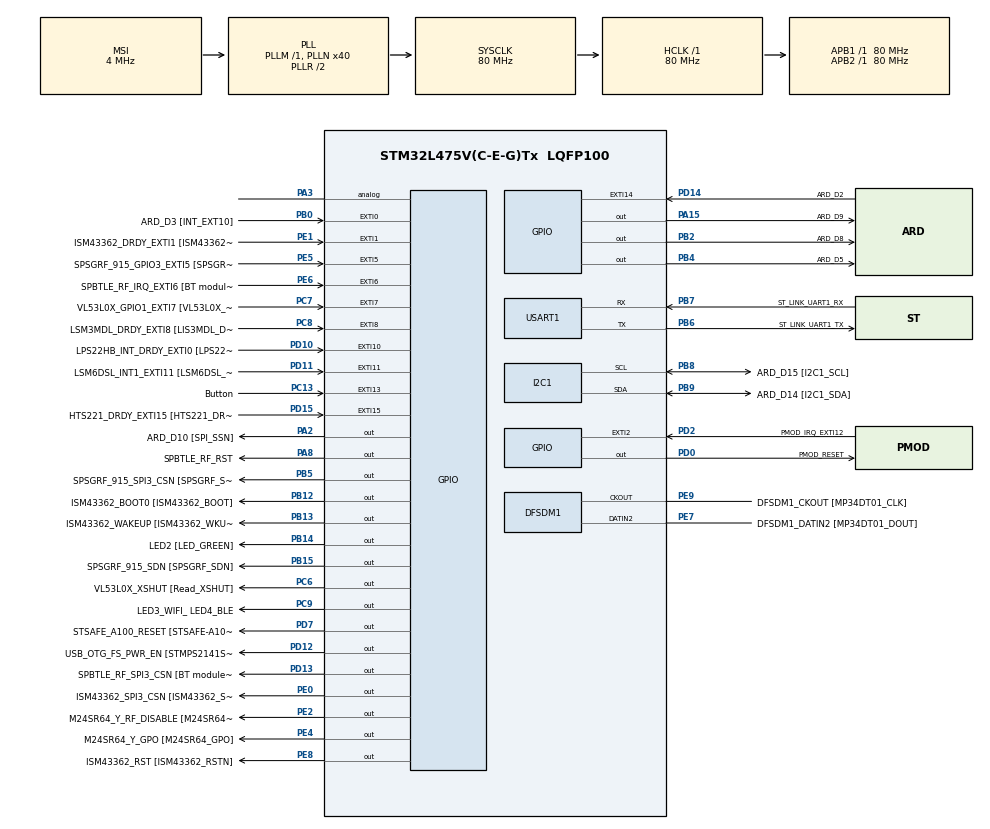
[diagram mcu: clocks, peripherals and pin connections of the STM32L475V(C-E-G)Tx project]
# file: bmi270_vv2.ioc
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I2C1.Timing=0x10909CEC
Mcu.Family=STM32L4
Mcu.Name=STM32L475V(C-E-G)Tx
Mcu.Package=LQFP100
NVIC.EXTI15_10_IRQn=true\:0\:0\:false\:false\:true\:true\:true
NVIC.EXTI9_5_IRQn=true\:0\:0\:false\:false\:true\:true\:true
NVIC.PriorityGroup=NVIC_PRIORITYGROUP_4
PA0.GPIO_Label=ARD_D1 [UART4_TX]
PA0.Signal=UART4_TX
PA1.GPIO_Label=ARD_D0 [UART4_RX]
PA1.Signal=UART4_RX
PA10.GPIO_Label=USB_OTG_FS_ID
PA10.Signal=USB_OTG_FS_ID
PA11.GPIO_Label=USB_OTG_FS_DM
PA11.Signal=USB_OTG_FS_DM
PA12.GPIO_Label=USB_OTG_FS_DP
PA12.Signal=USB_OTG_FS_DP
PA13\ (JTMS-SWDIO).GPIO_Label=SYS_JTMS_SWDIO
PA13\ (JTMS-SWDIO).Mode=Serial_Wire
PA13\ (JTMS-SWDIO).Signal=SYS_JTMS-SWDIO
PA14\ (JTCK-SWCLK).GPIO_Label=SYS_JTCK_SWCLK
PA14\ (JTCK-SWCLK).Mode=Serial_Wire
PA14\ (JTCK-SWCLK).Signal=SYS_JTCK-SWCLK
PA15\ (JTDI).GPIO_Label=ARD_D9
PA15\ (JTDI).Signal=GPIO_Output
PA2.GPIO_Label=ARD_D10 [SPI_SSN]
PA2.Signal=GPIO_Output
PA3.Signal=GPIO_Analog
PA4.GPIO_Label=ARD_D7
PA4.Signal=ADCx_IN9
PA5.GPIO_Label=ARD_D13 [SPI1_SCK]
PA5.Signal=SPI1_SCK
PA6.GPIO_Label=ARD_D12 [SPI1_MISO]
PA6.Signal=SPI1_MISO
PA7.GPIO_Label=ARD_D11 [SPI1_MOSI]
PA7.Signal=SPI1_MOSI
PA8.GPIO_Label=SPBTLE_RF_RST
PA8.Signal=GPIO_Output
PA9.GPIO_Label=USB_OTG_FS_VBUS [STMPS2141STR_OUT]
PA9.Signal=USB_OTG_FS_VBUS
PB0.GPIO_Label=ARD_D3 [INT_EXT10]
PB0.Signal=GPXTI0
PB1.GPIO_Label=ARD_D6 [ADC1_IN6]
PB1.Signal=ADCx_IN16
PB10.GPIO_Label=INTERNAL_I2C2_SCL [VL53L0X_SCL]
PB10.GPIO_Pu=GPIO_PULLUP
PB10.Signal=I2C2_SCL
PB11.GPIO_Label=INTERNAL_I2C2_SDA [VL53L0X_SDA]
PB11.GPIO_Pu=GPIO_PULLUP
PB11.Signal=I2C2_SDA
PB12.GPIO_Label=ISM43362_BOOT0 [ISM43362_BOOT]
PB12.Signal=GPIO_Output
PB13.GPIO_Label=ISM43362_WAKEUP [ISM43362_WKUP]
PB13.Signal=GPIO_Output
PB14.GPIO_Label=LED2 [LED_GREEN]
PB14.Signal=GPIO_Output
PB15.GPIO_Label=SPSGRF_915_SDN [SPSGRF_SDN]
PB15.Signal=GPIO_Output
PB2.GPIO_Label=ARD_D8
PB2.Signal=GPIO_Output
PB3\ (JTDO-TRACESWO).GPIO_Label=SYS_JTD0_SWO
PB3\ (JTDO-TRACESWO).Signal=SYS_JTDO-SWO
PB4\ (NJTRST).GPIO_Label=ARD_D5
PB4\ (NJTRST).Signal=GPIO_Output
PB5.GPIO_Label=SPSGRF_915_SPI3_CSN [SPSGRF_SPI_CS]
PB5.PinState=GPIO_PIN_SET
PB5.Signal=GPIO_Output
PB6.GPIO_Label=ST_LINK_UART1_TX
PB6.Mode=Asynchronous
PB6.Signal=USART1_TX
PB7.GPIO_Label=ST_LINK_UART1_RX
PB7.Mode=Asynchronous
PB7.Signal=USART1_RX
PB8.GPIO_Label=ARD_D15 [I2C1_SCL]
PB8.Mode=I2C
PB8.Signal=I2C1_SCL
PB9.GPIO_Label=ARD_D14 [I2C1_SDA]
PB9.Mode=I2C
PB9.Signal=I2C1_SDA
PC0.GPIO_Label=ARD_A5 [ADC]
PC0.Signal=ADCx_IN1
PC1.GPIO_Label=ARD_A4 [ADC]
PC1.Signal=ADCx_IN2
PC10.GPIO_Label=INTERNAL_SPI3_SCK [BT module_SPI_SCLK] [ISM43362_SCK]
PC10.Signal=SPI3_SCK
PC11.GPIO_Label=INTERNAL_SPI3_MISO [BT module_SPI_MISO] [ISM43362_MISO]
PC11.Signal=SPI3_MISO
PC12.GPIO_Label=INTERNAL_SPI3_MOSI [BT module_SPI_MOSI] [ISM43362_MOSI]
PC12.Signal=SPI3_MOSI
PC13.GPIO_Label=Button
PC13.GPIO_ModeDefaultEXTI=GPIO_MODE_IT_RISING
PC13.Signal=GPXTI13
PC14-OSC32_IN\ (PC14).Mode=LSE-External-Oscillator
PC14-OSC32_IN\ (PC14).Signal=RCC_OSC32_IN
PC15-OSC32_OUT\ (PC15).Mode=LSE-External-Oscillator
PC15-OSC32_OUT\ (PC15).Signal=RCC_OSC32_OUT
PC2.GPIO_Label=ARD_A3 [ADC]
PC2.Signal=ADCx_IN3
PC3.GPIO_Label=ARD_A2 [ADC]
PC3.Signal=ADCx_IN4
PC4.GPIO_Label=ARD_A1 [ADC]
PC4.Signal=ADCx_IN13
PC5.GPIO_Label=ARD_A0 [ADC]
PC5.Signal=ADCx_IN14
PC6.GPIO_Label=VL53L0X_XSHUT [Read_XSHUT]
PC6.Signal=GPIO_Output
PC7.GPIO_Label=VL53L0X_GPIO1_EXTI7 [VL53L0X_GPIO1]
PC7.Signal=GPXTI7
PC8.GPIO_Label=LSM3MDL_DRDY_EXTI8 [LIS3MDL_DRDY]
PC8.Signal=GPXTI8
PC9.GPIO_Label=LED3_WIFI_ LED4_BLE
PC9.Signal=GPIO_Output
PD0.GPIO_Label=PMOD_RESET
PD0.Signal=GPIO_Output
PD1.GPIO_Label=PMOD_SPI2_SCK
PD1.Signal=SPI2_SCK
PD10.GPIO_Label=LPS22HB_INT_DRDY_EXTI0 [LPS22HB_INT_DRDY] 
PD10.Signal=GPXTI10
PD11.GPIO_Label=LSM6DSL_INT1_EXTI11 [LSM6DSL_INT1]
PD11.Signal=GPXTI11
PD12.GPIO_Label=USB_OTG_FS_PWR_EN [STMPS2141STR_EN]
PD12.Signal=GPIO_Output
PD13.GPIO_Label=SPBTLE_RF_SPI3_CSN [BT module_SPI_CS]
PD13.PinState=GPIO_PIN_SET
PD13.Signal=GPIO_Output
PD14.GPIO_Label=ARD_D2
PD14.Signal=GPXTI14
PD15.GPIO_Label=HTS221_DRDY_EXTI15 [HTS221_DRDY]
PD15.Signal=GPXTI15
PD2.GPIO_Label=PMOD_IRQ_EXTI12
PD2.Signal=GPXTI2
PD3.GPIO_Label=PMOD_UART2_CTS
PD3.Signal=USART2_CTS
PD4.GPIO_Label=PMOD_UART2_RTS
PD4.Signal=USART2_RTS
PD5.GPIO_Label=PMOD_UART2_TX
PD5.Signal=USART2_TX
PD6.GPIO_Label=PMOD_UART2_RX
PD6.Signal=USART2_RX
PD7.GPIO_Label=STSAFE_A100_RESET [STSAFE-A100_RESET]
PD7.Signal=GPIO_Output
PD8.GPIO_Label=INTERNAL_UART3_TX [ISM43362_RX]
PD8.Signal=USART3_TX
PD9.GPIO_Label=INTERNAL_UART3_RX [ISM43362_TX]
PD9.Signal=USART3_RX
PE0.GPIO_Label=ISM43362_SPI3_CSN [ISM43362_SSN]
PE0.PinState=GPIO_PIN_SET
PE0.Signal=GPIO_Output
PE1.GPIO_Label=ISM43362_DRDY_EXTI1 [ISM43362_DATARDY]
PE1.Signal=GPXTI1
PE10.GPIO_Label=QUADSPI_CLK [MX25R6435F_SCLK]
PE10.Signal=QUADSPI_CLK
PE11.GPIO_Label=QUADSPI_NCS [MX25R6435F_SCLK]
PE11.Signal=QUADSPI_NCS
PE12.GPIO_Label=OQUADSPI_BK1_IO0 [MX25R6435F_IO0]
PE12.Signal=QUADSPI_BK1_IO0
PE13.GPIO_Label=QUADSPI_BK1_IO1 [MX25R6435F_IO1]
PE13.Signal=QUADSPI_BK1_IO1
PE14.GPIO_Label=QUAD_SPI_BK1_IO2 [MX25R6435F_IO2]
PE14.Signal=QUADSPI_BK1_IO2
PE15.GPIO_Label=QUAD_SPI_BK1_IO3 [MX25R6435F_IO3]
PE15.Signal=QUADSPI_BK1_IO3
PE2.GPIO_Label=M24SR64_Y_RF_DISABLE [M24SR64_RFDIS]
PE2.Signal=GPIO_Output
PE4.GPIO_Label=M24SR64_Y_GPO [M24SR64_GPO]
PE4.Signal=GPIO_Output
PE5.GPIO_Label=SPSGRF_915_GPIO3_EXTI5 [SPSGRF_GPIO_3]
PE5.Signal=GPXTI5
PE6.GPIO_Label=SPBTLE_RF_IRQ_EXTI6 [BT module_SPI_IRQ]
PE6.Signal=GPXTI6
PE7.GPIO_Label=DFSDM1_DATIN2 [MP34DT01_DOUT]
PE7.Signal=S_DATAIN2DFSDM1
PE8.GPIO_Label=ISM43362_RST [ISM43362_RSTN]
PE8.Signal=GPIO_Output
PE9.GPIO_Label=DFSDM1_CKOUT [MP34DT01_CLK]
PE9.Signal=S_CKOUTDFSDM1
ProjectManager.HeapSize=0x200
ProjectManager.StackSize=0x400
ProjectManager.TargetToolchain=STM32CubeIDE
RCC.ADCFreq_Value=48000000
RCC.AHBFreq_Value=80000000
RCC.APB1Freq_Value=80000000
RCC.APB1TimFreq_Value=80000000
RCC.APB2Freq_Value=80000000
RCC.APB2TimFreq_Value=80000000
RCC.CortexFreq_Value=80000000
RCC.HCLKFreq_Value=80000000
RCC.HSE_VALUE=8000000
RCC.HSI_VALUE=16000000
RCC.MSI_VALUE=4000000
RCC.PLLN=40
RCC.PLLSAI1N=24
RCC.SYSCLKFreq_VALUE=80000000
RCC.SYSCLKSource=RCC_SYSCLKSOURCE_PLLCLK
RCC.USBFreq_Value=48000000
RCC.VCOOutputFreq_Value=160000000
SH.ADCx_IN1.0=ADC1_IN1
SH.ADCx_IN13.0=ADC1_IN13
SH.ADCx_IN14.0=ADC1_IN14
SH.ADCx_IN16.0=ADC1_IN16
SH.ADCx_IN2.0=ADC1_IN2
SH.ADCx_IN3.0=ADC1_IN3
SH.ADCx_IN4.0=ADC1_IN4
SH.ADCx_IN9.0=ADC1_IN9
SH.S_CKOUTDFSDM1.0=DFSDM1_CKOUT,CKOUT
SH.S_CKOUTDFSDM1.1=DFSDM1_CKOUT,PDM_SPI_Input_from_ch12_and_Internal_Clock
SH.S_DATAIN2DFSDM1.0=DFSDM1_DATIN2,PDM_SPI_Input_from_ch12_and_Internal_Clock
USART1.VirtualMode-Asynchronous=VM_ASYNC
board=B-L475E-IOT01A1

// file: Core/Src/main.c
/* USER CODE BEGIN Header */
/**
 ******************************************************************************
 * @file           : main.c
 * @brief          : Main program body
 ******************************************************************************
 * @attention
 *
 * Copyright (c) 2022 STMicroelectronics.
 * All rights reserved.
 *
 * This software is licensed under terms that can be found in the LICENSE file
 * in the root directory of this software component.
 * If no LICENSE file comes with this software, it is provided AS-IS.
 *
 ******************************************************************************
 */
/* USER CODE END Header */
#include "main.h"

/* USER CODE BEGIN Includes */
#include <stdio.h>
#include <string.h>
#include "ssd1306.h"
#include "ssd1306_tests.h"
#include "bmi270.h"
#include "helper.h"
/* USER CODE END Includes */

/* USER CODE BEGIN PD */
#define BUS_TIMEOUT             1000
#define READ_WRITE_LEN     UINT8_C(32)
/* USER CODE END PD */

DFSDM_Channel_HandleTypeDef hdfsdm1_channel1;

I2C_HandleTypeDef hi2c1;
UART_HandleTypeDef huart1;

/* USER CODE BEGIN PV */
uint8_t interrupt_button = 0;
/* USER CODE END PV */

void SystemClock_Config(void);
static void MX_GPIO_Init(void);
static void MX_DFSDM1_Init(void);
static void MX_USART1_UART_Init(void);
static void MX_I2C1_Init(void);
/* USER CODE BEGIN PFP */
int8_t SensorAPI_I2Cx_Read(uint8_t reg_addr, uint8_t *reg_data, uint32_t len,
		void *intf_ptr);
int8_t SensorAPI_I2Cx_Write(uint8_t reg_addr, const uint8_t *reg_data,
		uint32_t len, void *intf_ptr);
void bmi2_delay_us(uint32_t period, void *intf_ptr);

/* USER CODE END PFP */

/* USER CODE BEGIN 0 */
int __io_putchar(int ch) {
	HAL_UART_Transmit(&huart1, (uint8_t*) &ch, 1, 0xFFFF);
	return ch;
}

int8_t bmi2_step_counter_set_config(struct bmi2_dev *bmi2_dev) {
	/* Variable to define result */
	int8_t rslt;

	/* Initialize interrupts for gyroscope */
	struct bmi2_sens_int_config sens_int = { .type = BMI2_STEP_COUNTER,
			.hw_int_pin = BMI2_INT2 };

	/* List the sensors which are required to enable */
	uint8_t sens_list[2] = { BMI2_ACCEL, BMI2_STEP_COUNTER };

	/* Structure to define the type of the sensor and its configurations */
	struct bmi2_sens_config config;

	/* Configure type of feature */
	config.type = BMI2_STEP_COUNTER;

	/* Enable the selected sensors */
	rslt = bmi270_sensor_enable(sens_list, 2, bmi2_dev);

	if (rslt == BMI2_OK) {
		/* Get default configurations for the type of feature selected */
		rslt = bmi270_get_sensor_config(&config, 1, bmi2_dev);

		if (rslt == BMI2_OK) {
			config.cfg.step_counter.watermark_level = 1;

			rslt = bmi270_set_sensor_config(&config, 1, bmi2_dev);
			if (rslt == BMI2_OK) {
				/* Map interrupt to pins */
				rslt = bmi270_map_feat_int(&sens_int, 1, bmi2_dev);
			} else {
				printf("Set Sensor Config failed");
			}

		} else {
			printf("Get sensor config failed");
		}
	} else {
		printf("Sensor Enable Failed");
	}

	return rslt;
}

/* USER CODE END 0 */

int main(void) {
	/* USER CODE BEGIN 1 */
	uint8_t rslt;

	uint8_t chip_id;
	uint8_t bmi270_dev_addr;
	uint8_t ver_major, ver_minor;

	struct bmi2_dev dev;
	struct bmi2_feat_sensor_data sensor_data = { .type = BMI2_STEP_COUNTER };

	char oled_buf[16];

	/* USER CODE END 1 */

	/* MCU Configuration--------------------------------------------------------*/

	/* Reset of all peripherals, Initializes the Flash interface and the Systick. */
	HAL_Init();

	/* Configure the system clock */
	SystemClock_Config();

	/* Initialize all configured peripherals */
	MX_GPIO_Init();
	MX_DFSDM1_Init();
	MX_USART1_UART_Init();
	MX_I2C1_Init();
	/* USER CODE BEGIN 2 */
	printf("Pedometer example\r\n");

	bmi270_dev_addr = BMI2_I2C_PRIM_ADDR;
	dev.intf = BMI2_I2C_INTF;
	dev.read = (bmi2_read_fptr_t) SensorAPI_I2Cx_Read;
	dev.write = (bmi2_write_fptr_t) SensorAPI_I2Cx_Write;

	/* Assign device address to interface pointer */
	dev.intf_ptr = &bmi270_dev_addr;

	/* Configure delay in microseconds */
	dev.delay_us = bmi2_delay_us;

	/* Configure max read/write length (in bytes) ( Supported length depends on target machine) */
	dev.read_write_len = 32;

	/* Assign to NULL to load the default config file. */
	dev.config_file_ptr = NULL;

	/* Initialize bmi270. */
	rslt = bmi270_init(&dev);
	bmi2_error_codes_print_result(rslt);

	if (rslt != BMI2_OK) {
		printf("bmi270_wh_init() failed, error code: %d\r\n", rslt);
		return rslt;
	} else {
		rslt = bmi2_get_regs(BMI2_CHIP_ID_ADDR, &chip_id, 1, &dev);
		if (rslt != BMI2_OK) {
			printf("read chip ID failed, error code: %d\r\n", rslt);
			return rslt;
		}

		printf("Chip ID: %02x\r\n", chip_id);
	}

	printf("BMI270 initialized successfully\r\n");

	rslt = bmi2_get_config_file_version(&ver_major, &ver_minor, &dev);
	printf("The firmware version: v%d.%d\r\n", ver_major, ver_minor);

	rslt = bmi2_step_counter_set_config(&dev);
	if (rslt != BMI2_OK) {
		bmi2_error_codes_print_result(rslt);
		return rslt;
	}
	printf("Step counter configured successfully\r\n");
	ssd1306_Init();
	ssd1306_Fill(White);
	ssd1306_SetCursor(4, 18);
	ssd1306_WriteString("Sai's Steps", Font_11x18, Black);
	HAL_Delay(3000);
	ssd1306_UpdateScreen();

	/* USER CODE END 2 */

	/* Infinite loop */
	/* USER CODE BEGIN WHILE */
	while (1) {
		int8_t rslt;
		uint16_t int_status = 0;
		/* USER CODE END WHILE */

		/* USER CODE BEGIN 3 */
		rslt = bmi2_get_int_status(&int_status, &dev);
		if (rslt == BMI2_OK) {
			if (int_status & BMI270_STEP_CNT_STATUS_MASK) {
				rslt = bmi270_get_feature_data(&sensor_data, 1, &dev);
				if (rslt == BMI2_OK) {
					uint32_t steps = sensor_data.sens_data.step_counter_output;
					printf("Step Count:%ld\r\n", steps);
					ssd1306_Fill(White);
					ssd1306_SetCursor(4, 18);
					snprintf(oled_buf, sizeof(oled_buf), "%ld Steps", steps);
					ssd1306_WriteString(oled_buf, Font_11x18, Black);
					ssd1306_UpdateScreen();
				} else {
					printf("Get feature data failed \r\n");
				}
			}
		} else {
			printf("Int Status retrieval failed\r\n");
		}
		if (interrupt_button) {
			ssd1306_Fill(Black);
			ssd1306_SetCursor(4, 18);
			ssd1306_WriteString("Interrupted!", Font_11x18, White);
			ssd1306_UpdateScreen();
			interrupt_button = 0;
		}
	}
	/* USER CODE END 3 */
}

void SystemClock_Config(void) {
	RCC_OscInitTypeDef RCC_OscInitStruct = { 0 };
	RCC_ClkInitTypeDef RCC_ClkInitStruct = { 0 };

	/** Configure the main internal regulator output voltage
	 */
	if (HAL_PWREx_ControlVoltageScaling(PWR_REGULATOR_VOLTAGE_SCALE1)
			!= HAL_OK) {
		Error_Handler();
	}
	/** Configure LSE Drive Capability
	 */
	HAL_PWR_EnableBkUpAccess();
	__HAL_RCC_LSEDRIVE_CONFIG(RCC_LSEDRIVE_LOW);
	/** Initializes the RCC Oscillators according to the specified parameters
	 * in the RCC_OscInitTypeDef structure.
	 */
	RCC_OscInitStruct.OscillatorType = RCC_OSCILLATORTYPE_LSE
			| RCC_OSCILLATORTYPE_MSI;
	RCC_OscInitStruct.LSEState = RCC_LSE_ON;
	RCC_OscInitStruct.MSIState = RCC_MSI_ON;
	RCC_OscInitStruct.MSICalibrationValue = 0;
	RCC_OscInitStruct.MSIClockRange = RCC_MSIRANGE_6;
	RCC_OscInitStruct.PLL.PLLState = RCC_PLL_ON;
	RCC_OscInitStruct.PLL.PLLSource = RCC_PLLSOURCE_MSI;
	RCC_OscInitStruct.PLL.PLLM = 1;
	RCC_OscInitStruct.PLL.PLLN = 40;
	RCC_OscInitStruct.PLL.PLLP = RCC_PLLP_DIV7;
	RCC_OscInitStruct.PLL.PLLQ = RCC_PLLQ_DIV2;
	RCC_OscInitStruct.PLL.PLLR = RCC_PLLR_DIV2;
	if (HAL_RCC_OscConfig(&RCC_OscInitStruct) != HAL_OK) {
		Error_Handler();
	}
	/** Initializes the CPU, AHB and APB buses clocks
	 */
	RCC_ClkInitStruct.ClockType = RCC_CLOCKTYPE_HCLK | RCC_CLOCKTYPE_SYSCLK
			| RCC_CLOCKTYPE_PCLK1 | RCC_CLOCKTYPE_PCLK2;
	RCC_ClkInitStruct.SYSCLKSource = RCC_SYSCLKSOURCE_PLLCLK;
	RCC_ClkInitStruct.AHBCLKDivider = RCC_SYSCLK_DIV1;
	RCC_ClkInitStruct.APB1CLKDivider = RCC_HCLK_DIV1;
	RCC_ClkInitStruct.APB2CLKDivider = RCC_HCLK_DIV1;

	if (HAL_RCC_ClockConfig(&RCC_ClkInitStruct, FLASH_LATENCY_4) != HAL_OK) {
		Error_Handler();
	}
	/** Enable MSI Auto calibration
	 */
	HAL_RCCEx_EnableMSIPLLMode();
}

static void MX_DFSDM1_Init(void) {

	hdfsdm1_channel1.Instance = DFSDM1_Channel1;
	hdfsdm1_channel1.Init.OutputClock.Activation = ENABLE;
	hdfsdm1_channel1.Init.OutputClock.Selection =
			DFSDM_CHANNEL_OUTPUT_CLOCK_SYSTEM;
	hdfsdm1_channel1.Init.OutputClock.Divider = 2;
	hdfsdm1_channel1.Init.Input.Multiplexer = DFSDM_CHANNEL_EXTERNAL_INPUTS;
	hdfsdm1_channel1.Init.Input.DataPacking = DFSDM_CHANNEL_STANDARD_MODE;
	hdfsdm1_channel1.Init.Input.Pins = DFSDM_CHANNEL_FOLLOWING_CHANNEL_PINS;
	hdfsdm1_channel1.Init.SerialInterface.Type = DFSDM_CHANNEL_SPI_RISING;
	hdfsdm1_channel1.Init.SerialInterface.SpiClock =
			DFSDM_CHANNEL_SPI_CLOCK_INTERNAL;
	hdfsdm1_channel1.Init.Awd.FilterOrder = DFSDM_CHANNEL_FASTSINC_ORDER;
	hdfsdm1_channel1.Init.Awd.Oversampling = 1;
	hdfsdm1_channel1.Init.Offset = 0;
	hdfsdm1_channel1.Init.RightBitShift = 0x00;
	if (HAL_DFSDM_ChannelInit(&hdfsdm1_channel1) != HAL_OK) {
		Error_Handler();
	}

}

static void MX_I2C1_Init(void) {

	hi2c1.Instance = I2C1;
	hi2c1.Init.Timing = 0x10909CEC;
	hi2c1.Init.OwnAddress1 = 0;
	hi2c1.Init.AddressingMode = I2C_ADDRESSINGMODE_7BIT;
	hi2c1.Init.DualAddressMode = I2C_DUALADDRESS_DISABLE;
	hi2c1.Init.OwnAddress2 = 0;
	hi2c1.Init.OwnAddress2Masks = I2C_OA2_NOMASK;
	hi2c1.Init.GeneralCallMode = I2C_GENERALCALL_DISABLE;
	hi2c1.Init.NoStretchMode = I2C_NOSTRETCH_DISABLE;
	if (HAL_I2C_Init(&hi2c1) != HAL_OK) {
		Error_Handler();
	}
	/** Configure Analogue filter
	 */
	if (HAL_I2CEx_ConfigAnalogFilter(&hi2c1, I2C_ANALOGFILTER_ENABLE)
			!= HAL_OK) {
		Error_Handler();
	}
	/** Configure Digital filter
	 */
	if (HAL_I2CEx_ConfigDigitalFilter(&hi2c1, 0) != HAL_OK) {
		Error_Handler();
	}

}

static void MX_USART1_UART_Init(void) {

	huart1.Instance = USART1;
	huart1.Init.BaudRate = 115200;
	huart1.Init.WordLength = UART_WORDLENGTH_8B;
	huart1.Init.StopBits = UART_STOPBITS_1;
	huart1.Init.Parity = UART_PARITY_NONE;
	huart1.Init.Mode = UART_MODE_TX_RX;
	huart1.Init.HwFlowCtl = UART_HWCONTROL_NONE;
	huart1.Init.OverSampling = UART_OVERSAMPLING_16;
	huart1.Init.OneBitSampling = UART_ONE_BIT_SAMPLE_DISABLE;
	huart1.AdvancedInit.AdvFeatureInit = UART_ADVFEATURE_NO_INIT;
	if (HAL_UART_Init(&huart1) != HAL_OK) {
		Error_Handler();
	}

}

static void MX_GPIO_Init(void) {
	GPIO_InitTypeDef GPIO_InitStruct = { 0 };

	/* GPIO Ports Clock Enable */
	__HAL_RCC_GPIOE_CLK_ENABLE();
	__HAL_RCC_GPIOC_CLK_ENABLE();
	__HAL_RCC_GPIOA_CLK_ENABLE();
	__HAL_RCC_GPIOB_CLK_ENABLE();
	__HAL_RCC_GPIOD_CLK_ENABLE();

	/*Configure GPIO pin Output Level */
	HAL_GPIO_WritePin(GPIOE,
			M24SR64_Y_RF_DISABLE_Pin | M24SR64_Y_GPO_Pin | ISM43362_RST_Pin,
			GPIO_PIN_RESET);

	/*Configure GPIO pin Output Level */
	HAL_GPIO_WritePin(GPIOA, ARD_D10_Pin | SPBTLE_RF_RST_Pin | ARD_D9_Pin,
			GPIO_PIN_RESET);

	/*Configure GPIO pin Output Level */
	HAL_GPIO_WritePin(GPIOB,
			ARD_D8_Pin | ISM43362_BOOT0_Pin | ISM43362_WAKEUP_Pin | LED2_Pin
					| SPSGRF_915_SDN_Pin | ARD_D5_Pin, GPIO_PIN_RESET);

	/*Configure GPIO pin Output Level */
	HAL_GPIO_WritePin(GPIOD,
			USB_OTG_FS_PWR_EN_Pin | PMOD_RESET_Pin | STSAFE_A100_RESET_Pin,
			GPIO_PIN_RESET);

	/*Configure GPIO pin Output Level */
	HAL_GPIO_WritePin(SPBTLE_RF_SPI3_CSN_GPIO_Port, SPBTLE_RF_SPI3_CSN_Pin,
			GPIO_PIN_SET);

	/*Configure GPIO pin Output Level */
	HAL_GPIO_WritePin(GPIOC, VL53L0X_XSHUT_Pin | LED3_WIFI__LED4_BLE_Pin,
			GPIO_PIN_RESET);

	/*Configure GPIO pin Output Level */
	HAL_GPIO_WritePin(SPSGRF_915_SPI3_CSN_GPIO_Port, SPSGRF_915_SPI3_CSN_Pin,
			GPIO_PIN_SET);

	/*Configure GPIO pin Output Level */
	HAL_GPIO_WritePin(ISM43362_SPI3_CSN_GPIO_Port, ISM43362_SPI3_CSN_Pin,
			GPIO_PIN_SET);

	/*Configure GPIO pins : M24SR64_Y_RF_DISABLE_Pin M24SR64_Y_GPO_Pin ISM43362_RST_Pin ISM43362_SPI3_CSN_Pin */
	GPIO_InitStruct.Pin = M24SR64_Y_RF_DISABLE_Pin | M24SR64_Y_GPO_Pin
			| ISM43362_RST_Pin | ISM43362_SPI3_CSN_Pin;
	GPIO_InitStruct.Mode = GPIO_MODE_OUTPUT_PP;
	GPIO_InitStruct.Pull = GPIO_NOPULL;
	GPIO_InitStruct.Speed = GPIO_SPEED_FREQ_LOW;
	HAL_GPIO_Init(GPIOE, &GPIO_InitStruct);

	/*Configure GPIO pins : SPSGRF_915_GPIO3_EXTI5_Pin SPBTLE_RF_IRQ_EXTI6_Pin ISM43362_DRDY_EXTI1_Pin */
	GPIO_InitStruct.Pin = SPSGRF_915_GPIO3_EXTI5_Pin | SPBTLE_RF_IRQ_EXTI6_Pin
			| ISM43362_DRDY_EXTI1_Pin;
	GPIO_InitStruct.Mode = GPIO_MODE_IT_RISING;
	GPIO_InitStruct.Pull = GPIO_NOPULL;
	HAL_GPIO_Init(GPIOE, &GPIO_InitStruct);

	/*Configure GPIO pins : Button_Pin VL53L0X_GPIO1_EXTI7_Pin LSM3MDL_DRDY_EXTI8_Pin */
	GPIO_InitStruct.Pin = Button_Pin | VL53L0X_GPIO1_EXTI7_Pin
			| LSM3MDL_DRDY_EXTI8_Pin;
	GPIO_InitStruct.Mode = GPIO_MODE_IT_RISING;
	GPIO_InitStruct.Pull = GPIO_NOPULL;
	HAL_GPIO_Init(GPIOC, &GPIO_InitStruct);

	/*Configure GPIO pins : ARD_A5_Pin ARD_A4_Pin ARD_A3_Pin ARD_A2_Pin
	 ARD_A1_Pin ARD_A0_Pin */
	GPIO_InitStruct.Pin = ARD_A5_Pin | ARD_A4_Pin | ARD_A3_Pin | ARD_A2_Pin
			| ARD_A1_Pin | ARD_A0_Pin;
	GPIO_InitStruct.Mode = GPIO_MODE_ANALOG_ADC_CONTROL;
	GPIO_InitStruct.Pull = GPIO_NOPULL;
	HAL_GPIO_Init(GPIOC, &GPIO_InitStruct);

	/*Configure GPIO pins : ARD_D1_Pin ARD_D0_Pin */
	GPIO_InitStruct.Pin = ARD_D1_Pin | ARD_D0_Pin;
	GPIO_InitStruct.Mode = GPIO_MODE_AF_PP;
	GPIO_InitStruct.Pull = GPIO_NOPULL;
	GPIO_InitStruct.Speed = GPIO_SPEED_FREQ_VERY_HIGH;
	GPIO_InitStruct.Alternate = GPIO_AF8_UART4;
	HAL_GPIO_Init(GPIOA, &GPIO_InitStruct);

	/*Configure GPIO pins : ARD_D10_Pin SPBTLE_RF_RST_Pin ARD_D9_Pin */
	GPIO_InitStruct.Pin = ARD_D10_Pin | SPBTLE_RF_RST_Pin | ARD_D9_Pin;
	GPIO_InitStruct.Mode = GPIO_MODE_OUTPUT_PP;
	GPIO_InitStruct.Pull = GPIO_NOPULL;
	GPIO_InitStruct.Speed = GPIO_SPEED_FREQ_LOW;
	HAL_GPIO_Init(GPIOA, &GPIO_InitStruct);

	/*Configure GPIO pin : PA3 */
	GPIO_InitStruct.Pin = GPIO_PIN_3;
	GPIO_InitStruct.Mode = GPIO_MODE_ANALOG;
	GPIO_InitStruct.Pull = GPIO_NOPULL;
	HAL_GPIO_Init(GPIOA, &GPIO_InitStruct);

	/*Configure GPIO pin : ARD_D7_Pin */
	GPIO_InitStruct.Pin = ARD_D7_Pin;
	GPIO_InitStruct.Mode = GPIO_MODE_ANALOG_ADC_CONTROL;
	GPIO_InitStruct.Pull = GPIO_NOPULL;
	HAL_GPIO_Init(ARD_D7_GPIO_Port, &GPIO_InitStruct);

	/*Configure GPIO pins : ARD_D13_Pin ARD_D12_Pin ARD_D11_Pin */
	GPIO_InitStruct.Pin = ARD_D13_Pin | ARD_D12_Pin | ARD_D11_Pin;
	GPIO_InitStruct.Mode = GPIO_MODE_AF_PP;
	GPIO_InitStruct.Pull = GPIO_NOPULL;
	GPIO_InitStruct.Speed = GPIO_SPEED_FREQ_VERY_HIGH;
	GPIO_InitStruct.Alternate = GPIO_AF5_SPI1;
	HAL_GPIO_Init(GPIOA, &GPIO_InitStruct);

	/*Configure GPIO pin : ARD_D3_Pin */
	GPIO_InitStruct.Pin = ARD_D3_Pin;
	GPIO_InitStruct.Mode = GPIO_MODE_IT_RISING;
	GPIO_InitStruct.Pull = GPIO_NOPULL;
	HAL_GPIO_Init(ARD_D3_GPIO_Port, &GPIO_InitStruct);

	/*Configure GPIO pin : ARD_D6_Pin */
	GPIO_InitStruct.Pin = ARD_D6_Pin;
	GPIO_InitStruct.Mode = GPIO_MODE_ANALOG_ADC_CONTROL;
	GPIO_InitStruct.Pull = GPIO_NOPULL;
	HAL_GPIO_Init(ARD_D6_GPIO_Port, &GPIO_InitStruct);

	/*Configure GPIO pins : ARD_D8_Pin ISM43362_BOOT0_Pin ISM43362_WAKEUP_Pin LED2_Pin
	 SPSGRF_915_SDN_Pin ARD_D5_Pin SPSGRF_915_SPI3_CSN_Pin */
	GPIO_InitStruct.Pin = ARD_D8_Pin | ISM43362_BOOT0_Pin | ISM43362_WAKEUP_Pin
			| LED2_Pin | SPSGRF_915_SDN_Pin | ARD_D5_Pin
			| SPSGRF_915_SPI3_CSN_Pin;
	GPIO_InitStruct.Mode = GPIO_MODE_OUTPUT_PP;
	GPIO_InitStruct.Pull = GPIO_NOPULL;
	GPIO_InitStruct.Speed = GPIO_SPEED_FREQ_LOW;
	HAL_GPIO_Init(GPIOB, &GPIO_InitStruct);

	/*Configure GPIO pins : QUADSPI_CLK_Pin QUADSPI_NCS_Pin OQUADSPI_BK1_IO0_Pin QUADSPI_BK1_IO1_Pin
	 QUAD_SPI_BK1_IO2_Pin QUAD_SPI_BK1_IO3_Pin */
	GPIO_InitStruct.Pin = QUADSPI_CLK_Pin | QUADSPI_NCS_Pin
			| OQUADSPI_BK1_IO0_Pin | QUADSPI_BK1_IO1_Pin | QUAD_SPI_BK1_IO2_Pin
			| QUAD_SPI_BK1_IO3_Pin;
	GPIO_InitStruct.Mode = GPIO_MODE_AF_PP;
	GPIO_InitStruct.Pull = GPIO_NOPULL;
	GPIO_InitStruct.Speed = GPIO_SPEED_FREQ_VERY_HIGH;
	GPIO_InitStruct.Alternate = GPIO_AF10_QUADSPI;
	HAL_GPIO_Init(GPIOE, &GPIO_InitStruct);

	/*Configure GPIO pins : INTERNAL_I2C2_SCL_Pin INTERNAL_I2C2_SDA_Pin */
	GPIO_InitStruct.Pin = INTERNAL_I2C2_SCL_Pin | INTERNAL_I2C2_SDA_Pin;
	GPIO_InitStruct.Mode = GPIO_MODE_AF_OD;
	GPIO_InitStruct.Pull = GPIO_PULLUP;
	GPIO_InitStruct.Speed = GPIO_SPEED_FREQ_VERY_HIGH;
	GPIO_InitStruct.Alternate = GPIO_AF4_I2C2;
	HAL_GPIO_Init(GPIOB, &GPIO_InitStruct);

	/*Configure GPIO pins : INTERNAL_UART3_TX_Pin INTERNAL_UART3_RX_Pin */
	GPIO_InitStruct.Pin = INTERNAL_UART3_TX_Pin | INTERNAL_UART3_RX_Pin;
	GPIO_InitStruct.Mode = GPIO_MODE_AF_PP;
	GPIO_InitStruct.Pull = GPIO_NOPULL;
	GPIO_InitStruct.Speed = GPIO_SPEED_FREQ_VERY_HIGH;
	GPIO_InitStruct.Alternate = GPIO_AF7_USART3;
	HAL_GPIO_Init(GPIOD, &GPIO_InitStruct);

	/*Configure GPIO pins : LPS22HB_INT_DRDY_EXTI0_Pin LSM6DSL_INT1_EXTI11_Pin ARD_D2_Pin HTS221_DRDY_EXTI15_Pin
	 PMOD_IRQ_EXTI12_Pin */
	GPIO_InitStruct.Pin = LPS22HB_INT_DRDY_EXTI0_Pin | LSM6DSL_INT1_EXTI11_Pin
			| ARD_D2_Pin | HTS221_DRDY_EXTI15_Pin | PMOD_IRQ_EXTI12_Pin;
	GPIO_InitStruct.Mode = GPIO_MODE_IT_RISING;
	GPIO_InitStruct.Pull = GPIO_NOPULL;
	HAL_GPIO_Init(GPIOD, &GPIO_InitStruct);

	/*Configure GPIO pins : USB_OTG_FS_PWR_EN_Pin SPBTLE_RF_SPI3_CSN_Pin PMOD_RESET_Pin STSAFE_A100_RESET_Pin */
	GPIO_InitStruct.Pin = USB_OTG_FS_PWR_EN_Pin | SPBTLE_RF_SPI3_CSN_Pin
			| PMOD_RESET_Pin | STSAFE_A100_RESET_Pin;
	GPIO_InitStruct.Mode = GPIO_MODE_OUTPUT_PP;
	GPIO_InitStruct.Pull = GPIO_NOPULL;
	GPIO_InitStruct.Speed = GPIO_SPEED_FREQ_LOW;
	HAL_GPIO_Init(GPIOD, &GPIO_InitStruct);

	/*Configure GPIO pins : VL53L0X_XSHUT_Pin LED3_WIFI__LED4_BLE_Pin */
	GPIO_InitStruct.Pin = VL53L0X_XSHUT_Pin | LED3_WIFI__LED4_BLE_Pin;
	GPIO_InitStruct.Mode = GPIO_MODE_OUTPUT_PP;
	GPIO_InitStruct.Pull = GPIO_NOPULL;
	GPIO_InitStruct.Speed = GPIO_SPEED_FREQ_LOW;
	HAL_GPIO_Init(GPIOC, &GPIO_InitStruct);

	/*Configure GPIO pin : USB_OTG_FS_VBUS_Pin */
	GPIO_InitStruct.Pin = USB_OTG_FS_VBUS_Pin;
	GPIO_InitStruct.Mode = GPIO_MODE_INPUT;
	GPIO_InitStruct.Pull = GPIO_NOPULL;
	HAL_GPIO_Init(USB_OTG_FS_VBUS_GPIO_Port, &GPIO_InitStruct);

	/*Configure GPIO pins : USB_OTG_FS_ID_Pin USB_OTG_FS_DM_Pin USB_OTG_FS_DP_Pin */
	GPIO_InitStruct.Pin = USB_OTG_FS_ID_Pin | USB_OTG_FS_DM_Pin
			| USB_OTG_FS_DP_Pin;
	GPIO_InitStruct.Mode = GPIO_MODE_AF_PP;
	GPIO_InitStruct.Pull = GPIO_NOPULL;
	GPIO_InitStruct.Speed = GPIO_SPEED_FREQ_VERY_HIGH;
	GPIO_InitStruct.Alternate = GPIO_AF10_OTG_FS;
	HAL_GPIO_Init(GPIOA, &GPIO_InitStruct);

	/*Configure GPIO pins : INTERNAL_SPI3_SCK_Pin INTERNAL_SPI3_MISO_Pin INTERNAL_SPI3_MOSI_Pin */
	GPIO_InitStruct.Pin = INTERNAL_SPI3_SCK_Pin | INTERNAL_SPI3_MISO_Pin
			| INTERNAL_SPI3_MOSI_Pin;
	GPIO_InitStruct.Mode = GPIO_MODE_AF_PP;
	GPIO_InitStruct.Pull = GPIO_NOPULL;
	GPIO_InitStruct.Speed = GPIO_SPEED_FREQ_VERY_HIGH;
	GPIO_InitStruct.Alternate = GPIO_AF6_SPI3;
	HAL_GPIO_Init(GPIOC, &GPIO_InitStruct);

	/*Configure GPIO pin : PMOD_SPI2_SCK_Pin */
	GPIO_InitStruct.Pin = PMOD_SPI2_SCK_Pin;
	GPIO_InitStruct.Mode = GPIO_MODE_AF_PP;
	GPIO_InitStruct.Pull = GPIO_NOPULL;
	GPIO_InitStruct.Speed = GPIO_SPEED_FREQ_VERY_HIGH;
	GPIO_InitStruct.Alternate = GPIO_AF5_SPI2;
	HAL_GPIO_Init(PMOD_SPI2_SCK_GPIO_Port, &GPIO_InitStruct);

	/*Configure GPIO pins : PMOD_UART2_CTS_Pin PMOD_UART2_RTS_Pin PMOD_UART2_TX_Pin PMOD_UART2_RX_Pin */
	GPIO_InitStruct.Pin = PMOD_UART2_CTS_Pin | PMOD_UART2_RTS_Pin
			| PMOD_UART2_TX_Pin | PMOD_UART2_RX_Pin;
	GPIO_InitStruct.Mode = GPIO_MODE_AF_PP;
	GPIO_InitStruct.Pull = GPIO_NOPULL;
	GPIO_InitStruct.Speed = GPIO_SPEED_FREQ_VERY_HIGH;
	GPIO_InitStruct.Alternate = GPIO_AF7_USART2;
	HAL_GPIO_Init(GPIOD, &GPIO_InitStruct);

	/* EXTI interrupt init*/
	HAL_NVIC_SetPriority(EXTI9_5_IRQn, 0, 0);
	HAL_NVIC_EnableIRQ(EXTI9_5_IRQn);

	HAL_NVIC_SetPriority(EXTI15_10_IRQn, 0, 0);
	HAL_NVIC_EnableIRQ(EXTI15_10_IRQn);

}

/* USER CODE BEGIN 4 */
int8_t SensorAPI_I2Cx_Read(uint8_t reg_addr, uint8_t *reg_data, uint32_t len,
		void *intf_ptr) {
	uint8_t dev_addr = *(uint8_t*) intf_ptr;
	uint16_t DevAddress = dev_addr << 1;

	// send register address
	HAL_I2C_Master_Transmit(&hi2c1, DevAddress, &reg_addr, 1, BUS_TIMEOUT);
	HAL_I2C_Master_Receive(&hi2c1, DevAddress, reg_data, len, BUS_TIMEOUT);
	return 0;
}

int8_t SensorAPI_I2Cx_Write(uint8_t reg_addr, const uint8_t *reg_data,
		uint32_t len, void *intf_ptr) {
	uint8_t dev_addr = *(uint8_t*) intf_ptr;
	uint16_t DevAddress = dev_addr << 1;

	uint8_t buf[len + 1];
	buf[0] = reg_addr;
	memcpy(&buf[1], reg_data, len);

	// send register address
	HAL_I2C_Master_Transmit(&hi2c1, DevAddress, buf, len + 1, BUS_TIMEOUT);
	return 0;
}

void bmi2_delay_us(uint32_t period, void *intf_ptr) {
	uint32_t i;

	while (period--) {
		for (i = 0; i < 84; i++) {
			;
		}
	}
}

__weak void HAL_GPIO_EXTI_Callback(uint16_t GPIO_Pin) {

	UNUSED(GPIO_Pin);

	if (GPIO_Pin == GPIO_PIN_13) {
		interrupt_button = 1;
	}

}

/* USER CODE END 4 */

void Error_Handler(void) {
	__disable_irq();
	while (1) {
	}
}
